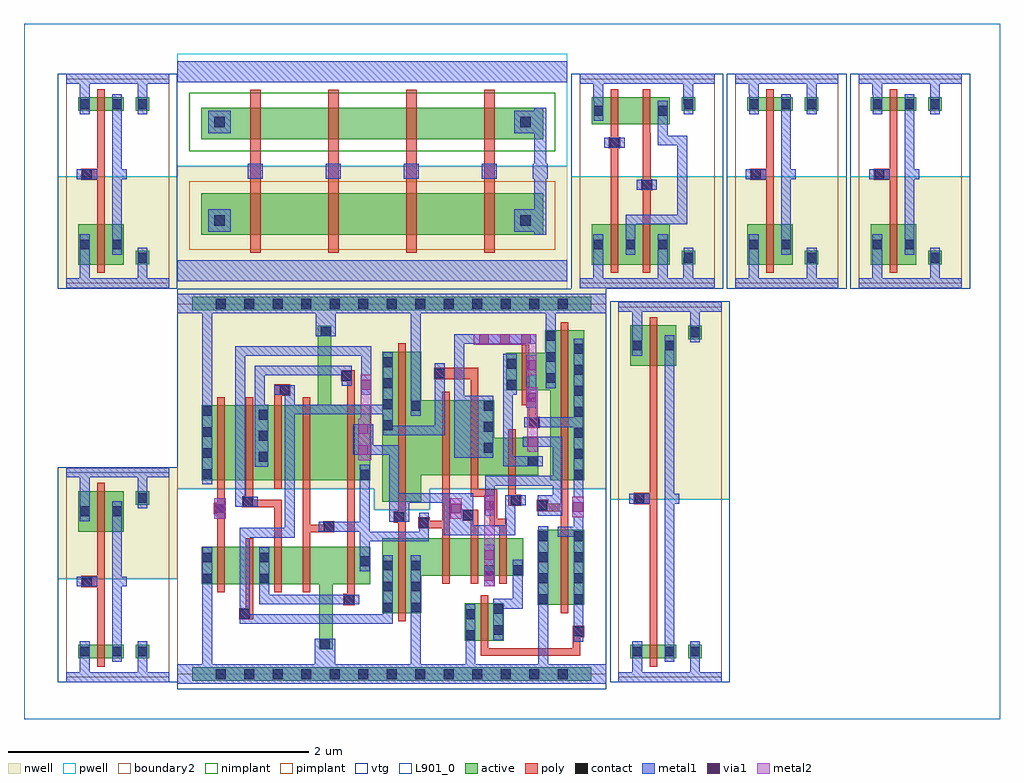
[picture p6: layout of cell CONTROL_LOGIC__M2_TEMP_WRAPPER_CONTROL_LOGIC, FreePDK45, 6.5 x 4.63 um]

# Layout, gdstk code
import gdstk
lib = gdstk.Library(unit=1e-6, precision=1e-09)
def R(c, l, rs):  # rectangles x0, y0, x1, y1
    for r in rs: c.add(gdstk.rectangle(r[:2], r[2:], *l))
def A(c, l, x, y, w, h, nx, ny, dx, dy):  # array of equal rectangles
    R(c, l, [(x+i*dx, y+j*dy, x+i*dx+w, y+j*dy+h) for i in range(nx) for j in range(ny)])
def P(c, l, *ps):  # polygons
    for p in ps: c.add(gdstk.Polygon(p, *l))
active = (1, 0)
pwell = (2, 0)
nwell = (3, 0)
nimplant = (4, 0)
pimplant = (5, 0)
vtg = (6, 0)
poly = (9, 0)
contact = (10, 0)
metal1 = (11, 0)
via1 = (12, 0)
metal2 = (13, 0)
boundary2 = (239, 0)
L901_0 = (901, 0)

control_logic__control_l = lib.new_cell('CONTROL_LOGIC__CONTROL_LOGIC__sram_1rw_32x16_freepdk45_contact_11')
R(control_logic__control_l, active, [(0,0.022,0.09,0.112)])
R(control_logic__control_l, nwell, [(-0.055,-0.033,0.145,0.168)])
R(control_logic__control_l, pimplant, [(0,0.022,0.09,0.112)])
R(control_logic__control_l, contact, [(0.013,0.035,0.077,0.1)])
R(control_logic__control_l, metal1, [(0.013,0,0.077,0.135)])
R(control_logic__control_l, boundary2, [(-0.055,-0.033,0.145,0.168)])

c_control_logic__control_l = lib.new_cell('CONTROL_LOGIC__CONTROL_LOGIC__sram_1rw_32x16_freepdk45_pmos_m1_w0_270_sm1_dm1_da_p')
R(c_control_logic__control_l, active, [(0,0,0.305,0.27)])
R(c_control_logic__control_l, nwell, [(-0.08,-0.08,0.385,0.35)])
R(c_control_logic__control_l, pimplant, [(0,0,0.305,0.27)])
R(c_control_logic__control_l, vtg, [(-0.08,-0.08,0.385,0.35)])
R(c_control_logic__control_l, poly, [(0.127,-0.055,0.177,0.325), (0.127,-0.055,0.177,0.325)])
R(c_control_logic__control_l, metal1, [(0.013,0.068,0.077,0.203), (0.227,0.068,0.292,0.203)])
R(c_control_logic__control_l, boundary2, [(-0.08,-0.08,0.385,0.35)])
c_control_logic__control_l.add(gdstk.Reference(control_logic__control_l, (0,0.068)))
c_control_logic__control_l.add(gdstk.Reference(control_logic__control_l, (0.215,0.068)))
c_control_logic__control_l.add(gdstk.Label('G', (0.152,0.135), layer=9, texttype=0))
c_control_logic__control_l.add(gdstk.Label('S', (0.045,0.135), layer=11, texttype=0))
c_control_logic__control_l.add(gdstk.Label('D', (0.26,0.135), layer=11, texttype=0))

c_control_logic__control_l_ = lib.new_cell('CONTROL_LOGIC__CONTROL_LOGIC__sram_1rw_32x16_freepdk45_contact_10')
R(c_control_logic__control_l_, active, [(0,0.022,0.09,0.112)])
R(c_control_logic__control_l_, pwell, [(-0.055,-0.033,0.145,0.168)])
R(c_control_logic__control_l_, nimplant, [(0,0.022,0.09,0.112)])
R(c_control_logic__control_l_, contact, [(0.013,0.035,0.077,0.1)])
R(c_control_logic__control_l_, metal1, [(0.013,0,0.077,0.135)])
R(c_control_logic__control_l_, boundary2, [(-0.055,-0.033,0.145,0.168)])

c_control_logic__control_l__ = lib.new_cell('CONTROL_LOGIC__CONTROL_LOGIC__sram_1rw_32x16_freepdk45_nmos_m1_w0_090_sm1_dm1_da_p')
R(c_control_logic__control_l__, active, [(0,0,0.305,0.09)])
R(c_control_logic__control_l__, pwell, [(-0.08,-0.08,0.385,0.17)])
R(c_control_logic__control_l__, nimplant, [(0,0,0.305,0.09)])
R(c_control_logic__control_l__, vtg, [(-0.08,-0.08,0.385,0.17)])
R(c_control_logic__control_l__, poly, [(0.127,-0.055,0.177,0.145), (0.127,-0.055,0.177,0.145)])
R(c_control_logic__control_l__, metal1, [(0.013,-0.022,0.077,0.112), (0.227,-0.022,0.292,0.112)])
R(c_control_logic__control_l__, boundary2, [(-0.08,-0.08,0.385,0.17)])
c_control_logic__control_l__.add(gdstk.Reference(c_control_logic__control_l_, (0,-0.022)))
c_control_logic__control_l__.add(gdstk.Reference(c_control_logic__control_l_, (0.215,-0.022)))
c_control_logic__control_l__.add(gdstk.Label('G', (0.152,0.045), layer=9, texttype=0))
c_control_logic__control_l__.add(gdstk.Label('S', (0.045,0.045), layer=11, texttype=0))
c_control_logic__control_l__.add(gdstk.Label('D', (0.26,0.045), layer=11, texttype=0))

c_control_logic__control_l___ = lib.new_cell('CONTROL_LOGIC__CONTROL_LOGIC__sram_1rw_32x16_freepdk45_contact_12')
R(c_control_logic__control_l___, active, [(0,0.022,0.09,0.112)])
R(c_control_logic__control_l___, nwell, [(-0.055,-0.033,0.145,0.168)])
R(c_control_logic__control_l___, nimplant, [(0,0.022,0.09,0.112)])
R(c_control_logic__control_l___, contact, [(0.013,0.035,0.077,0.1)])
R(c_control_logic__control_l___, metal1, [(0.013,0,0.077,0.135)])
R(c_control_logic__control_l___, boundary2, [(-0.055,-0.033,0.145,0.168)])

c_control_logic__control_l____ = lib.new_cell('CONTROL_LOGIC__CONTROL_LOGIC__sram_1rw_32x16_freepdk45_contact_13')
R(c_control_logic__control_l____, active, [(0,0.022,0.09,0.112)])
R(c_control_logic__control_l____, pwell, [(-0.055,-0.033,0.145,0.168)])
R(c_control_logic__control_l____, pimplant, [(0,0.022,0.09,0.112)])
R(c_control_logic__control_l____, contact, [(0.013,0.035,0.077,0.1)])
R(c_control_logic__control_l____, metal1, [(0.013,0,0.077,0.135)])
R(c_control_logic__control_l____, boundary2, [(-0.055,-0.033,0.145,0.168)])

c_control_logic__control_l_____ = lib.new_cell('CONTROL_LOGIC__CONTROL_LOGIC__sram_1rw_32x16_freepdk45_contact_14')
R(c_control_logic__control_l_____, poly, [(0.03,0,0.105,0.075)])
R(c_control_logic__control_l_____, contact, [(0.035,0.005,0.1,0.07)])
R(c_control_logic__control_l_____, metal1, [(0,0.005,0.135,0.07)])
R(c_control_logic__control_l_____, boundary2, [(0,0,0.135,0.075)])

c_control_logic__control_l______ = lib.new_cell('CONTROL_LOGIC__CONTROL_LOGIC__gen_inv')
R(c_control_logic__control_l______, pwell, [(-0.055,-0.033,0.743,0.655)])
R(c_control_logic__control_l______, nwell, [(-0.055,0.655,0.743,1.4)])
R(c_control_logic__control_l______, vtg, [(-0.055,-0.033,0.743,0.655), (-0.055,0.655,0.743,1.4)])
R(c_control_logic__control_l______, poly, [(0.208,0.27,0.258,0.915), (0.14,0.6,0.208,0.675)])
R(c_control_logic__control_l______, metal1, [(0,-0.033,0.687,0.033), (0.092,-0.033,0.157,0.103), (0.478,0,0.542,0.17), (0.307,0.103,0.372,1.173), (0.072,0.605,0.208,0.67), (0.34,0.605,0.405,0.67), (0.092,1.038,0.157,1.397), (0.478,1.195,0.542,1.365), (0,1.332,0.687,1.397)])
R(c_control_logic__control_l______, boundary2, [(0,0,0.687,1.365), (0,0,0.687,1.365)])
c_control_logic__control_l______.add(gdstk.Reference(c_control_logic__control_l, (0.08,0.97)))
c_control_logic__control_l______.add(gdstk.Reference(c_control_logic__control_l__, (0.08,0.125)))
c_control_logic__control_l______.add(gdstk.Reference(c_control_logic__control_l___, (0.465,1.127)))
c_control_logic__control_l______.add(gdstk.Reference(c_control_logic__control_l____, (0.465,0.103)))
c_control_logic__control_l______.add(gdstk.Reference(c_control_logic__control_l_____, (0.072,0.6)))
c_control_logic__control_l______.add(gdstk.Label('A', (0.14,0.638), layer=11, texttype=0))
c_control_logic__control_l______.add(gdstk.Label('Z', (0.372,0.638), layer=11, texttype=0))
c_control_logic__control_l______.add(gdstk.Label('gnd', (0.345,0), layer=11, texttype=0))
c_control_logic__control_l______.add(gdstk.Label('vdd', (0.345,1.365), layer=11, texttype=0))

c_control_logic__control_l_______ = lib.new_cell('CONTROL_LOGIC__CONTROL_LOGIC__dff')
A(c_control_logic__control_l_______, active, 0.267, 0.6, 0.05, 0.25, 4, 1, 0.19, 0)
A(c_control_logic__control_l_______, active, 0.317, 0.6, 0.14, 0.25, 3, 1, 0.19, 0)
A(c_control_logic__control_l_______, active, 1.767, 0.657, 0.05, 0.25, 3, 1, 0.19, 0)
A(c_control_logic__control_l_______, active, 0.267, 1.292, 0.05, 0.5, 4, 1, 0.19, 0)
A(c_control_logic__control_l_______, active, 0.317, 1.292, 0.14, 0.5, 3, 1, 0.19, 0)
R(c_control_logic__control_l_______, active, [(0.1,-0.045,2.76,0.045), (1.917,0.222,2.022,0.472), (2.022,0.222,2.072,0.472), (2.072,0.222,2.177,0.472), (1.367,0.407,1.472,0.907), (1.472,0.407,1.522,0.907), (2.402,0.462,2.557,0.962), (2.557,0.462,2.607,0.962), (2.607,0.462,2.712,0.962), (0.162,0.6,0.267,0.85), (1.132,0.6,1.182,0.85), (1.182,0.6,1.287,0.85), (1.817,0.657,1.957,0.907), (2.007,0.657,2.147,0.907), (2.197,0.657,2.307,0.907), (1.367,1.15,1.472,2.15), (1.472,1.15,1.522,2.15), (0.162,1.292,0.267,1.792), (1.132,1.292,1.182,1.792), (1.182,1.292,1.287,1.792), (2.557,1.292,2.607,2.292), (2.607,1.292,2.712,2.292), (1.767,1.327,1.817,1.827), (1.817,1.327,1.957,1.827), (1.957,1.327,2.007,1.827), (2.207,1.327,2.257,1.577), (2.257,1.327,2.407,1.577), (2.192,1.892,2.297,2.142), (2.297,1.892,2.347,2.142), (0.1,2.425,2.76,2.515)])
P(c_control_logic__control_l_______, active, [(0.887,1.292),(0.887,1.792),(0.937,1.792),(0.937,2.322),(1.027,2.322),(1.027,1.792),(1.132,1.792),(1.132,1.292)],
  [(1.522,1.15),(1.522,2.15),(1.627,2.15),(1.627,1.827),(1.767,1.827),(1.767,1.327),(1.627,1.327),(1.627,1.15)],
  [(2.007,1.327),(2.007,1.827),(2.112,1.827),(2.112,1.577),(2.207,1.577),(2.207,1.327)],
  [(2.487,1.292),(2.487,1.892),(2.347,1.892),(2.347,2.142),(2.452,2.142),(2.452,2.292),(2.557,2.292),(2.557,1.292)],
  [(0.947,0.165),(0.947,0.6),(0.887,0.6),(0.887,0.85),(1.132,0.85),(1.132,0.6),(1.037,0.6),(1.037,0.165)],
  [(1.522,0.407),(1.522,0.907),(1.767,0.907),(1.767,0.657),(1.627,0.657),(1.627,0.407)])
P(c_control_logic__control_l_______, pwell, [(0,-0.1),(0,1.235),(1.312,1.235),(1.312,1.095),(1.682,1.095),(1.682,1.235),(2.86,1.235),(2.86,-0.1)])
P(c_control_logic__control_l_______, nwell, [(1.312,1.095),(1.312,1.235),(0,1.235),(0,2.57),(2.86,2.57),(2.86,1.235),(1.682,1.235),(1.682,1.095)])
A(c_control_logic__control_l_______, nimplant, 0.267, 0.6, 0.05, 0.25, 4, 1, 0.19, 0)
A(c_control_logic__control_l_______, nimplant, 0.317, 0.6, 0.14, 0.25, 3, 1, 0.19, 0)
A(c_control_logic__control_l_______, nimplant, 1.767, 0.657, 0.05, 0.25, 3, 1, 0.19, 0)
R(c_control_logic__control_l_______, nimplant, [(1.917,0.222,2.022,0.472), (2.022,0.222,2.072,0.472), (2.072,0.222,2.177,0.472), (1.367,0.407,1.472,0.907), (1.472,0.407,1.522,0.907), (2.402,0.462,2.557,0.962), (2.557,0.462,2.607,0.962), (2.607,0.462,2.712,0.962), (0.162,0.6,0.267,0.85), (1.132,0.6,1.182,0.85), (1.182,0.6,1.287,0.85), (1.817,0.657,1.957,0.907), (2.007,0.657,2.147,0.907), (2.197,0.657,2.307,0.907), (0.1,2.425,2.76,2.515)])
P(c_control_logic__control_l_______, nimplant, [(0.947,0.165),(0.947,0.6),(0.887,0.6),(0.887,0.85),(1.132,0.85),(1.132,0.6),(1.037,0.6),(1.037,0.165)],
  [(1.522,0.407),(1.522,0.907),(1.767,0.907),(1.767,0.657),(1.627,0.657),(1.627,0.407)])
A(c_control_logic__control_l_______, pimplant, 0.267, 1.292, 0.05, 0.5, 4, 1, 0.19, 0)
A(c_control_logic__control_l_______, pimplant, 0.317, 1.292, 0.14, 0.5, 3, 1, 0.19, 0)
R(c_control_logic__control_l_______, pimplant, [(0.1,-0.045,2.76,0.045), (1.367,1.15,1.472,2.15), (1.472,1.15,1.522,2.15), (0.162,1.292,0.267,1.792), (1.132,1.292,1.182,1.792), (1.182,1.292,1.287,1.792), (2.557,1.292,2.607,2.292), (2.607,1.292,2.712,2.292), (1.767,1.327,1.817,1.827), (1.817,1.327,1.957,1.827), (1.957,1.327,2.007,1.827), (2.207,1.327,2.257,1.577), (2.257,1.327,2.407,1.577), (2.192,1.892,2.297,2.142), (2.297,1.892,2.347,2.142)])
P(c_control_logic__control_l_______, pimplant, [(0.887,1.292),(0.887,1.792),(0.937,1.792),(0.937,2.322),(1.027,2.322),(1.027,1.792),(1.132,1.792),(1.132,1.292)],
  [(1.522,1.15),(1.522,2.15),(1.627,2.15),(1.627,1.827),(1.767,1.827),(1.767,1.327),(1.627,1.327),(1.627,1.15)],
  [(2.007,1.327),(2.007,1.827),(2.112,1.827),(2.112,1.577),(2.207,1.577),(2.207,1.327)],
  [(2.487,1.292),(2.487,1.892),(2.347,1.892),(2.347,2.142),(2.452,2.142),(2.452,2.292),(2.557,2.292),(2.557,1.292)])
R(c_control_logic__control_l_______, vtg, [(0,-0.1,2.86,2.57)])
A(c_control_logic__control_l_______, poly, 0.267, 0.6, 0.05, 0.25, 4, 1, 0.19, 0)
A(c_control_logic__control_l_______, poly, 1.767, 0.602, 0.05, 0.055, 3, 1, 0.19, 0)
A(c_control_logic__control_l_______, poly, 1.767, 0.657, 0.05, 0.25, 3, 1, 0.19, 0)
A(c_control_logic__control_l_______, poly, 0.267, 1.292, 0.05, 0.5, 4, 1, 0.19, 0)
R(c_control_logic__control_l_______, poly, [(2.022,0.222,2.072,0.472), (1.472,0.352,1.522,0.407), (1.472,0.407,1.522,0.907), (2.557,0.407,2.607,0.462), (2.557,0.462,2.607,0.962), (2.022,0.472,2.072,0.527), (0.267,0.545,0.317,0.6), (0.647,0.545,0.697,0.6), (0.837,0.545,0.887,0.6), (1.132,0.6,1.182,0.85), (0.457,0.85,0.507,0.905), (1.132,0.85,1.182,1.292), (1.472,1.15,1.522,2.15), (0.647,1.237,0.697,1.292), (1.132,1.292,1.182,1.792), (2.557,1.292,2.607,2.292), (1.767,1.327,1.817,1.827), (1.957,1.327,2.007,1.827), (2.207,1.327,2.257,1.577), (2.207,1.577,2.257,1.632), (0.267,1.792,0.317,1.847), (0.457,1.792,0.507,1.847), (0.837,1.792,0.887,1.847), (1.767,1.827,1.817,1.882), (2.297,1.892,2.347,2.142), (2.297,2.142,2.347,2.197), (1.472,2.15,1.522,2.205), (2.557,2.292,2.607,2.347)])
P(c_control_logic__control_l_______, poly, [(0.267,0.85),(0.267,1.067),(0.242,1.067),(0.242,1.142),(0.267,1.142),(0.267,1.292),(0.317,1.292),(0.317,0.85)],
  [(0.412,0.365),(0.412,0.44),(0.457,0.44),(0.457,0.6),(0.507,0.6),(0.507,0.365)],
  [(0.647,1.792),(0.647,1.932),(0.752,1.932),(0.752,1.857),(0.697,1.857),(0.697,1.792)],
  [(0.647,0.85),(0.647,1.112),(0.432,1.112),(0.432,1.187),(0.457,1.187),(0.457,1.292),(0.507,1.292),(0.507,1.162),(0.697,1.162),(0.697,0.85)],
  [(0.837,0.85),(0.837,1.292),(0.887,1.292),(0.887,0.995),(0.972,0.995),(0.972,1.02),(1.047,1.02),(1.047,0.945),(0.887,0.945),(0.887,0.85)],
  [(1.132,1.792),(1.132,1.952),(1.092,1.952),(1.092,2.027),(1.182,2.027),(1.182,1.792)],
  [(1.107,0.46),(1.107,0.535),(1.132,0.535),(1.132,0.6),(1.182,0.6),(1.182,0.46)],
  [(1.472,0.907),(1.472,1.01),(1.442,1.01),(1.442,1.085),(1.472,1.085),(1.472,1.15),(1.522,1.15),(1.522,0.907)],
  [(1.767,0.907),(1.767,0.972),(1.607,0.972),(1.607,1.047),(1.682,1.047),(1.682,1.022),(1.767,1.022),(1.767,1.327),(1.817,1.327),(1.817,0.907)],
  [(1.957,1.827),(1.957,1.967),(1.712,1.967),(1.712,2.042),(2.007,2.042),(2.007,1.827)],
  [(1.957,0.907),(1.957,1.022),(1.902,1.022),(1.902,1.097),(2.007,1.097),(2.007,0.907)],
  [(2.342,1.642),(2.342,1.792),(2.297,1.792),(2.297,1.892),(2.347,1.892),(2.347,1.842),(2.392,1.842),(2.392,1.717),(2.417,1.717),(2.417,1.642)],
  [(2.207,1.122),(2.207,1.327),(2.257,1.327),(2.257,1.197),(2.292,1.197),(2.292,1.122)],
  [(2.022,0.122),(2.022,0.222),(2.072,0.222),(2.072,0.172),(2.637,0.172),(2.637,0.322),(2.712,0.322),(2.712,0.247),(2.687,0.247),(2.687,0.122)],
  [(2.147,0.907),(2.147,0.987),(2.082,0.987),(2.082,1.182),(1.957,1.182),(1.957,1.327),(2.007,1.327),(2.007,1.232),(2.132,1.232),(2.132,1.037),(2.197,1.037),(2.197,0.907)],
  [(2.557,0.962),(2.557,1.087),(2.397,1.087),(2.397,1.162),(2.472,1.162),(2.472,1.137),(2.557,1.137),(2.557,1.292),(2.607,1.292),(2.607,0.962)])
A(c_control_logic__control_l_______, contact, 0.257, -0.032, 0.065, 0.064, 13, 1, 0.19, 0)
A(c_control_logic__control_l_______, contact, 1.372, 0.412, 0.065, 0.065, 1, 3, 0, 0.14)
A(c_control_logic__control_l_______, contact, 1.557, 0.412, 0.065, 0.065, 1, 3, 0, 0.14)
A(c_control_logic__control_l_______, contact, 2.407, 0.467, 0.065, 0.065, 1, 4, 0, 0.14)
A(c_control_logic__control_l_______, contact, 2.642, 0.467, 0.065, 0.065, 1, 4, 0, 0.14)
A(c_control_logic__control_l_______, contact, 2.642, 1.297, 0.065, 0.065, 1, 7, 0, 0.14)
A(c_control_logic__control_l_______, contact, 0.167, 1.302, 0.065, 0.065, 1, 4, 0, 0.14)
A(c_control_logic__control_l_______, contact, 0.542, 1.417, 0.065, 0.065, 1, 3, 0, 0.14)
A(c_control_logic__control_l_______, contact, 2.042, 1.477, 0.065, 0.065, 1, 3, 0, 0.14)
A(c_control_logic__control_l_______, contact, 1.372, 1.627, 0.065, 0.065, 1, 4, 0, 0.14)
A(c_control_logic__control_l_______, contact, 2.457, 1.942, 0.065, 0.065, 1, 3, 0, 0.14)
A(c_control_logic__control_l_______, contact, 0.257, 2.437, 0.065, 0.065, 13, 1, 0.19, 0)
R(c_control_logic__control_l_______, contact, [(0.952,0.17,1.017,0.235), (1.922,0.227,1.987,0.292), (2.642,0.252,2.707,0.317), (2.107,0.262,2.172,0.327), (1.922,0.367,1.987,0.432), (0.417,0.37,0.482,0.435), (2.107,0.402,2.172,0.467), (1.112,0.465,1.177,0.53), (0.167,0.605,0.232,0.67), (0.547,0.605,0.612,0.67), (2.047,0.662,2.112,0.727), (2.237,0.662,2.302,0.727), (1.217,0.72,1.282,0.785), (0.167,0.745,0.232,0.81), (0.547,0.745,0.612,0.81), (0.977,0.95,1.042,1.015), (1.612,0.977,1.677,1.042), (1.447,1.015,1.512,1.08), (1.907,1.027,1.972,1.092), (0.247,1.072,0.312,1.137), (2.402,1.092,2.467,1.157), (0.437,1.117,0.502,1.182), (2.222,1.127,2.287,1.192), (1.217,1.297,1.282,1.362), (2.337,1.387,2.402,1.452), (2.347,1.647,2.412,1.712), (1.557,1.757,1.622,1.822), (0.682,1.862,0.747,1.927), (2.197,1.897,2.262,1.962), (1.097,1.957,1.162,2.022), (1.717,1.972,1.782,2.037), (2.197,2.037,2.262,2.102), (0.957,2.252,1.022,2.317)])
R(c_control_logic__control_l_______, metal1, [(0,-0.065,2.86,0.065), (2.047,0.587,2.112,0.862), (2.642,0.915,2.707,1.127), (1.777,0.927,1.972,1.207), (0.245,1.037,0.322,1.172), (2.632,1.047,2.71,1.182), (2.327,1.777,2.392,2.127), (0,2.405,2.76,2.535)])
P(c_control_logic__control_l_______, metal1, [(0.167,1.267),(0.167,2.405),(0.1,2.405),(0.1,2.535),(2.86,2.535),(2.86,2.405),(2.522,2.405),(2.522,1.907),(2.457,1.907),(2.457,2.405),(1.622,2.405),(1.622,1.722),(1.557,1.722),(1.557,2.405),(1.057,2.405),(1.057,2.252),(0.922,2.252),(0.922,2.405),(0.232,2.405),(0.232,1.267)],
  [(0.1,-0.065),(0.1,0.065),(0.167,0.065),(0.167,0.845),(0.232,0.845),(0.232,0.065),(0.917,0.065),(0.917,0.235),(1.052,0.235),(1.052,0.065),(1.557,0.065),(1.557,0.792),(1.622,0.792),(1.622,0.065),(1.922,0.065),(1.922,0.467),(1.987,0.467),(1.987,0.065),(2.407,0.065),(2.407,0.987),(2.472,0.987),(2.472,0.065),(2.76,0.065),(2.76,-0.065)],
  [(0.417,0.335),(0.417,0.975),(0.717,0.975),(0.717,1.862),(0.647,1.862),(0.647,1.927),(0.782,1.927),(0.782,1.797),(1.372,1.797),(1.372,2.147),(1.437,2.147),(1.437,1.657),(1.717,1.657),(1.717,2.072),(1.782,2.072),(1.782,1.592),(1.372,1.592),(1.372,1.732),(0.782,1.732),(0.782,0.91),(0.482,0.91),(0.482,0.4),(1.372,0.4),(1.372,0.792),(1.437,0.792),(1.437,0.335)],
  [(1.777,0.927),(1.777,1.142),(1.547,1.142),(1.547,1.015),(1.412,1.015),(1.412,1.462),(1.172,1.462),(1.172,1.667),(1.307,1.667),(1.307,1.527),(1.477,1.527),(1.477,1.207),(1.972,1.207),(1.972,0.992),(2.187,0.992),(2.187,1.192),(2.322,1.192),(2.322,1.127),(2.252,1.127),(2.252,0.927)],
  [(0.387,1.117),(0.387,2.187),(1.292,2.187),(1.292,1.862),(1.227,1.862),(1.227,2.122),(0.452,2.122),(0.452,1.182),(0.537,1.182),(0.537,1.117)],
  [(0.517,1.382),(0.517,2.057),(1.162,2.057),(1.162,1.922),(1.097,1.922),(1.097,1.992),(0.582,1.992),(0.582,1.797),(0.607,1.797),(0.607,1.382)],
  [(0.547,0.465),(0.547,0.845),(0.612,0.845),(0.612,0.53),(1.212,0.53),(1.212,0.465)],
  [(1.217,0.685),(1.217,0.95),(0.942,0.95),(0.942,1.015),(1.217,1.015),(1.217,1.397),(1.282,1.397),(1.282,0.95),(1.612,0.95),(1.612,1.077),(1.677,1.077),(1.677,0.885),(1.282,0.885),(1.282,0.685)],
  [(1.847,1.442),(1.847,2.267),(2.392,2.267),(2.392,2.202),(1.912,2.202),(1.912,1.857),(2.107,1.857),(2.107,1.442)],
  [(2.052,1.057),(2.052,1.322),(2.502,1.322),(2.502,1.517),(2.302,1.517),(2.302,1.582),(2.567,1.582),(2.567,1.057),(2.402,1.057),(2.402,1.192),(2.502,1.192),(2.502,1.257),(2.117,1.257),(2.117,1.057)],
  [(2.172,1.387),(2.172,2.137),(2.262,2.137),(2.262,1.862),(2.237,1.862),(2.237,1.452),(2.437,1.452),(2.437,1.387)],
  [(2.642,0.217),(2.642,0.917),(2.537,0.917),(2.537,0.982),(2.642,0.982),(2.642,1.647),(2.312,1.647),(2.312,1.712),(2.642,1.712),(2.642,2.237),(2.707,2.237),(2.707,0.217)],
  [(2.107,0.227),(2.107,0.502),(2.237,0.502),(2.237,0.762),(2.302,0.762),(2.302,0.437),(2.172,0.437),(2.172,0.227)])
A(c_control_logic__control_l_______, via1, 2.012, 2.202, 0.065, 0.065, 3, 1, 0.14, 0)
R(c_control_logic__control_l_______, via1, [(2.047,0.622,2.112,0.687), (2.047,0.762,2.112,0.827), (0.247,1.072,0.312,1.137), (1.825,1.072,1.89,1.137), (2.64,1.082,2.705,1.147), (2.052,1.092,2.117,1.157), (1.207,1.462,1.272,1.527), (2.337,1.517,2.402,1.582), (1.207,1.602,1.272,1.667), (2.327,1.812,2.392,1.877), (1.227,1.897,1.292,1.962), (2.327,2.027,2.392,2.092)])
R(c_control_logic__control_l_______, metal2, [(2.047,0.587,2.117,1.192), (0.245,1.037,0.322,1.172), (1.82,1.037,1.897,1.172), (2.632,1.047,2.71,1.182)])
P(c_control_logic__control_l_______, metal2, [(1.207,1.427),(1.207,1.702),(1.222,1.702),(1.222,1.997),(1.292,1.997),(1.292,1.427)],
  [(2.322,1.992),(2.322,2.197),(1.977,2.197),(1.977,2.267),(2.392,2.267),(2.392,1.992)],
  [(2.332,1.482),(2.332,1.777),(2.327,1.777),(2.327,1.912),(2.402,1.912),(2.402,1.482)])
R(c_control_logic__control_l_______, boundary2, [(0,0,2.86,2.47)])
c_control_logic__control_l_______.add(gdstk.Label('clk', (1.865,1.15), layer=13, texttype=0))
c_control_logic__control_l_______.add(gdstk.Label('D', (0.295,1.15), layer=13, texttype=0))
c_control_logic__control_l_______.add(gdstk.Label('Q', (2.685,1.1), layer=13, texttype=0))
c_control_logic__control_l_______.add(gdstk.Label('gnd', (1.645,0.042), layer=11, texttype=0))
c_control_logic__control_l_______.add(gdstk.Label('vdd', (2.035,2.532), layer=11, texttype=0))

c_control_logic__control_l________ = lib.new_cell('CONTROL_LOGIC__CONTROL_LOGIC__gen_delay_inv')
R(c_control_logic__control_l________, pwell, [(-0.055,-0.033,0.743,1.185)])
R(c_control_logic__control_l________, nwell, [(-0.055,1.185,0.743,2.505)])
R(c_control_logic__control_l________, vtg, [(-0.055,-0.033,0.743,1.185), (-0.055,1.185,0.743,2.505)])
R(c_control_logic__control_l________, poly, [(0.208,0.27,0.258,2.02), (0.14,1.153,0.208,1.228)])
R(c_control_logic__control_l________, metal1, [(0,-0.033,0.687,0.033), (0.092,-0.033,0.157,0.103), (0.478,0,0.542,0.17), (0.307,0.103,0.372,2.277), (0.072,1.157,0.208,1.222), (0.34,1.157,0.405,1.222), (0.092,2.143,0.157,2.502), (0.478,2.3,0.542,2.47), (0,2.437,0.687,2.502)])
R(c_control_logic__control_l________, boundary2, [(0,0,0.687,2.47), (0,0,0.687,2.47)])
c_control_logic__control_l________.add(gdstk.Reference(c_control_logic__control_l, (0.08,2.075)))
c_control_logic__control_l________.add(gdstk.Reference(c_control_logic__control_l__, (0.08,0.125)))
c_control_logic__control_l________.add(gdstk.Reference(c_control_logic__control_l___, (0.465,2.232)))
c_control_logic__control_l________.add(gdstk.Reference(c_control_logic__control_l____, (0.465,0.103)))
c_control_logic__control_l________.add(gdstk.Reference(c_control_logic__control_l_____, (0.072,1.153)))
c_control_logic__control_l________.add(gdstk.Label('A', (0.14,1.19), layer=11, texttype=0))
c_control_logic__control_l________.add(gdstk.Label('Z', (0.372,1.19), layer=11, texttype=0))
c_control_logic__control_l________.add(gdstk.Label('gnd', (0.345,0), layer=11, texttype=0))
c_control_logic__control_l________.add(gdstk.Label('vdd', (0.345,2.47), layer=11, texttype=0))

c_control_logic__control_l_________ = lib.new_cell('CONTROL_LOGIC__CONTROL_LOGIC__gen_nand4')
R(c_control_logic__control_l_________, active, [(0.16,0.36,2.44,0.57), (0.16,0.93,2.44,1.205)])
R(c_control_logic__control_l_________, pwell, [(0,0,2.6,0.75)])
R(c_control_logic__control_l_________, nwell, [(0,0.75,2.6,1.565)])
R(c_control_logic__control_l_________, nimplant, [(0.08,0.26,2.52,0.65)])
R(c_control_logic__control_l_________, pimplant, [(0.08,0.85,2.52,1.305)])
A(c_control_logic__control_l_________, poly, 0.485, 0.24, 0.07, 1.085, 4, 1, 0.52, 0)
R(c_control_logic__control_l_________, contact, [(0.245,0.42,0.315,0.49), (2.285,0.42,2.355,0.49), (0.245,1.075,0.315,1.145), (2.285,1.075,2.355,1.145)])
A(c_control_logic__control_l_________, metal1, 0.47, 0.733, 0.1, 0.099, 4, 1, 0.52, 0)
R(c_control_logic__control_l_________, metal1, [(0,0.05,2.6,0.19), (1.25,0.07,1.35,0.17), (2.38,0.36,2.46,1.205), (0.205,0.38,0.355,0.53), (2.245,0.38,2.395,0.53), (2.37,0.733,2.47,0.832), (0.205,1.035,0.355,1.185), (2.245,1.035,2.395,1.185), (0,1.375,2.6,1.515), (1.25,1.395,1.35,1.495)])

c_control_logic__control_l__________ = lib.new_cell('CONTROL_LOGIC__CONTROL_LOGIC__sram_1rw_32x16_freepdk45_contact_11__gen_nand2')
R(c_control_logic__control_l__________, active, [(0,0.022,0.09,0.112)])
R(c_control_logic__control_l__________, nwell, [(-0.055,-0.033,0.145,0.168)])
R(c_control_logic__control_l__________, pimplant, [(0,0.022,0.09,0.112)])
R(c_control_logic__control_l__________, contact, [(0.013,0.035,0.077,0.1)])
R(c_control_logic__control_l__________, metal1, [(0.013,0,0.077,0.135)])
R(c_control_logic__control_l__________, boundary2, [(-0.055,-0.033,0.145,0.168)])

c_control_logic__control_l___________ = lib.new_cell('CONTROL_LOGIC__CONTROL_LOGIC__sram_1rw_32x16_freepdk45_pmos_m1_w0_270_sm1_dm1')
R(c_control_logic__control_l___________, active, [(0,0,0.305,0.27)])
R(c_control_logic__control_l___________, nwell, [(-0.08,-0.08,0.385,0.35)])
R(c_control_logic__control_l___________, pimplant, [(0,0,0.305,0.27)])
R(c_control_logic__control_l___________, vtg, [(-0.08,-0.08,0.385,0.35)])
R(c_control_logic__control_l___________, poly, [(0.127,-0.055,0.177,0.325), (0.127,-0.055,0.177,0.325)])
R(c_control_logic__control_l___________, metal1, [(0.013,0.068,0.077,0.203), (0.227,0.068,0.292,0.203)])
R(c_control_logic__control_l___________, boundary2, [(-0.08,-0.08,0.385,0.35)])
c_control_logic__control_l___________.add(gdstk.Reference(c_control_logic__control_l__________, (0,0.068)))
c_control_logic__control_l___________.add(gdstk.Reference(c_control_logic__control_l__________, (0.215,0.068)))
c_control_logic__control_l___________.add(gdstk.Label('G', (0.152,0.135), layer=9, texttype=0))
c_control_logic__control_l___________.add(gdstk.Label('S', (0.045,0.135), layer=11, texttype=0))
c_control_logic__control_l___________.add(gdstk.Label('D', (0.26,0.135), layer=11, texttype=0))

c_control_logic__control_l____________ = lib.new_cell('CONTROL_LOGIC__CONTROL_LOGIC__sram_1rw_32x16_freepdk45_contact_10__gen_nand2')
R(c_control_logic__control_l____________, active, [(0,0.022,0.09,0.112)])
R(c_control_logic__control_l____________, pwell, [(-0.055,-0.033,0.145,0.168)])
R(c_control_logic__control_l____________, nimplant, [(0,0.022,0.09,0.112)])
R(c_control_logic__control_l____________, contact, [(0.013,0.035,0.077,0.1)])
R(c_control_logic__control_l____________, metal1, [(0.013,0,0.077,0.135)])
R(c_control_logic__control_l____________, boundary2, [(-0.055,-0.033,0.145,0.168)])

c_control_logic__control_l_____________ = lib.new_cell('CONTROL_LOGIC__CONTROL_LOGIC__sram_1rw_32x16_freepdk45_nmos_m1_w0_180_sm1_dactive')
R(c_control_logic__control_l_____________, active, [(0,0,0.305,0.18), (0.215,0.045,0.305,0.135)])
R(c_control_logic__control_l_____________, pwell, [(-0.08,-0.08,0.385,0.26)])
R(c_control_logic__control_l_____________, nimplant, [(0,0,0.305,0.18)])
R(c_control_logic__control_l_____________, vtg, [(-0.08,-0.08,0.385,0.26)])
R(c_control_logic__control_l_____________, poly, [(0.127,-0.055,0.177,0.235), (0.127,-0.055,0.177,0.235)])
R(c_control_logic__control_l_____________, metal1, [(0.013,0.022,0.077,0.157)])
R(c_control_logic__control_l_____________, boundary2, [(-0.08,-0.08,0.385,0.26)])
c_control_logic__control_l_____________.add(gdstk.Reference(c_control_logic__control_l____________, (0,0.022)))
c_control_logic__control_l_____________.add(gdstk.Label('G', (0.152,0.09), layer=9, texttype=0))
c_control_logic__control_l_____________.add(gdstk.Label('S', (0.045,0.09), layer=11, texttype=0))
c_control_logic__control_l_____________.add(gdstk.Label('D', (0.26,0.09), layer=1, texttype=0))

c_control_logic__control_l______________ = lib.new_cell('CONTROL_LOGIC__CONTROL_LOGIC__sram_1rw_32x16_freepdk45_nmos_m1_w0_180_sactive_dm1')
R(c_control_logic__control_l______________, active, [(0,0,0.305,0.18), (0,0.045,0.09,0.135)])
R(c_control_logic__control_l______________, pwell, [(-0.08,-0.08,0.385,0.26)])
R(c_control_logic__control_l______________, nimplant, [(0,0,0.305,0.18)])
R(c_control_logic__control_l______________, vtg, [(-0.08,-0.08,0.385,0.26)])
R(c_control_logic__control_l______________, poly, [(0.127,-0.055,0.177,0.235), (0.127,-0.055,0.177,0.235)])
R(c_control_logic__control_l______________, metal1, [(0.227,0.022,0.292,0.157)])
R(c_control_logic__control_l______________, boundary2, [(-0.08,-0.08,0.385,0.26)])
c_control_logic__control_l______________.add(gdstk.Reference(c_control_logic__control_l____________, (0.215,0.022)))
c_control_logic__control_l______________.add(gdstk.Label('G', (0.152,0.09), layer=9, texttype=0))
c_control_logic__control_l______________.add(gdstk.Label('S', (0.045,0.09), layer=1, texttype=0))
c_control_logic__control_l______________.add(gdstk.Label('D', (0.26,0.09), layer=11, texttype=0))

c_control_logic__control_l_______________ = lib.new_cell('CONTROL_LOGIC__CONTROL_LOGIC__gen_nand2')
R(c_control_logic__control_l_______________, pwell, [(-0.055,-0.033,0.957,0.655)])
R(c_control_logic__control_l_______________, nwell, [(-0.055,0.655,0.957,1.4)])
R(c_control_logic__control_l_______________, vtg, [(-0.055,-0.033,0.957,0.655), (-0.055,0.655,0.957,1.4)])
R(c_control_logic__control_l_______________, poly, [(0.208,0.36,0.258,0.915), (0.422,0.36,0.473,0.915), (0.208,0.39,0.232,0.465), (0.422,0.67,0.447,0.745)])
R(c_control_logic__control_l_______________, metal1, [(0,-0.033,0.902,0.033), (0.092,-0.033,0.157,0.147), (0.692,0,0.758,0.17), (0.522,0.283,0.588,0.413), (0.522,0.38,0.588,0.445), (0.555,0.38,0.685,0.445), (0.652,0.38,0.718,0.445), (0.165,0.395,0.3,0.46), (0.652,0.413,0.718,0.94), (0.38,0.675,0.515,0.74), (0.307,0.907,0.372,0.972), (0.34,0.907,0.685,0.972), (0.652,0.907,0.718,0.972), (0.307,0.94,0.372,1.038), (0.092,1.038,0.157,1.397), (0.522,1.038,0.588,1.397), (0.692,1.195,0.758,1.365), (0,1.332,0.902,1.397)])
R(c_control_logic__control_l_______________, boundary2, [(0,0,0.902,1.365), (0,0,0.902,1.365)])
c_control_logic__control_l_______________.add(gdstk.Reference(c_control_logic__control_l___________, (0.08,0.97)))
c_control_logic__control_l_______________.add(gdstk.Reference(c_control_logic__control_l___________, (0.295,0.97)))
c_control_logic__control_l_______________.add(gdstk.Reference(c_control_logic__control_l_____________, (0.08,0.125)))
c_control_logic__control_l_______________.add(gdstk.Reference(c_control_logic__control_l______________, (0.295,0.125)))
c_control_logic__control_l_______________.add(gdstk.Reference(c_control_logic__control_l___, (0.68,1.127)))
c_control_logic__control_l_______________.add(gdstk.Reference(c_control_logic__control_l____, (0.68,0.103)))
c_control_logic__control_l_______________.add(gdstk.Reference(c_control_logic__control_l_____, (0.165,0.39)))
c_control_logic__control_l_______________.add(gdstk.Reference(c_control_logic__control_l_____, (0.38,0.67)))
c_control_logic__control_l_______________.add(gdstk.Label('Z', (0.685,0.94), layer=11, texttype=0))
c_control_logic__control_l_______________.add(gdstk.Label('gnd', (0.45,0), layer=11, texttype=0))
c_control_logic__control_l_______________.add(gdstk.Label('vdd', (0.45,1.365), layer=11, texttype=0))
c_control_logic__control_l_______________.add(gdstk.Label('A', (0.232,0.427), layer=11, texttype=0))
c_control_logic__control_l_______________.add(gdstk.Label('B', (0.447,0.707), layer=11, texttype=0))

c_control_logic__control_l________________ = lib.new_cell('CONTROL_LOGIC__CONTROL_LOGIC__CONTROL_LOGIC')
c_control_logic__control_l________________.add(gdstk.Reference(c_control_logic__control_l______, (0.08,0.08)))
c_control_logic__control_l________________.add(gdstk.Reference(c_control_logic__control_l_______, (0.822,0.1)))
c_control_logic__control_l________________.add(gdstk.Reference(c_control_logic__control_l________, (3.762,0.08)))
c_control_logic__control_l________________.add(gdstk.Reference(c_control_logic__control_l______, (0.08,4.07), x_reflection=True))
c_control_logic__control_l________________.add(gdstk.Reference(c_control_logic__control_l_________, (0.822,4.235), x_reflection=True))
c_control_logic__control_l________________.add(gdstk.Reference(c_control_logic__control_l_______________, (3.503,4.07), x_reflection=True))
c_control_logic__control_l________________.add(gdstk.Reference(c_control_logic__control_l______, (4.54,4.07), x_reflection=True))
c_control_logic__control_l________________.add(gdstk.Reference(c_control_logic__control_l______, (5.363,4.07), x_reflection=True))

control_logic__m2_temp_w = lib.new_cell('CONTROL_LOGIC__M2_TEMP_WRAPPER_CONTROL_LOGIC')
R(control_logic__m2_temp_w, L901_0, [(-0.2,-0.2,6.305,4.435)])
control_logic__m2_temp_w.add(gdstk.Reference(c_control_logic__control_l________________, (0,0)))
control_logic__m2_temp_w.add(gdstk.Label('TEMP_WRAPPER_FOR_M2_REVIEW', (0,4.735), layer=900, texttype=0))
control_logic__m2_temp_w.add(gdstk.Label('CONTROL_LOGIC candidate composite', (0,5.335), layer=900, texttype=0))

lib.write_gds('CONTROL_LOGIC__M2_TEMP_WRAPPER_CONTROL_LOGIC.gds')
